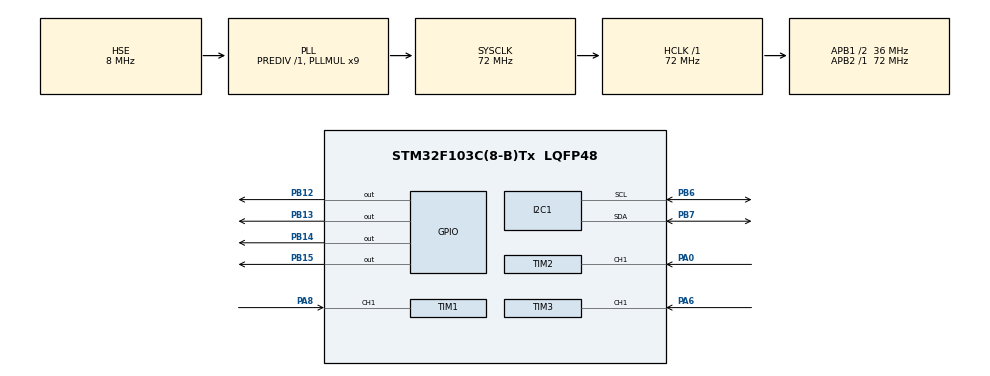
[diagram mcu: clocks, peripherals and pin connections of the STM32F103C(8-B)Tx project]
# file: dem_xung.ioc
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Mcu.Family=STM32F1
Mcu.Name=STM32F103C(8-B)Tx
Mcu.Package=LQFP48
NVIC.PriorityGroup=NVIC_PRIORITYGROUP_4
NVIC.TIM1_BRK_IRQn=true\:0\:0\:false\:false\:true\:true\:true\:true
NVIC.TIM1_CC_IRQn=true\:0\:0\:false\:false\:true\:true\:true\:true
NVIC.TIM1_TRG_COM_IRQn=true\:0\:0\:false\:false\:true\:true\:true\:true
NVIC.TIM1_UP_IRQn=true\:0\:0\:false\:false\:true\:true\:true\:true
NVIC.TIM2_IRQn=true\:0\:0\:false\:false\:true\:true\:true\:true
NVIC.TIM3_IRQn=true\:0\:0\:false\:false\:true\:true\:true\:true
PA0-WKUP.Signal=S_TIM2_CH1_ETR
PA13.Mode=Serial_Wire
PA13.Signal=SYS_JTMS-SWDIO
PA14.Mode=Serial_Wire
PA14.Signal=SYS_JTCK-SWCLK
PA6.Signal=S_TIM3_CH1
PA8.Signal=S_TIM1_CH1
PB12.Signal=GPIO_Output
PB13.Signal=GPIO_Output
PB14.Signal=GPIO_Output
PB15.Signal=GPIO_Output
PB6.Mode=I2C
PB6.Signal=I2C1_SCL
PB7.Mode=I2C
PB7.Signal=I2C1_SDA
PD0-OSC_IN.Mode=HSE-External-Oscillator
PD0-OSC_IN.Signal=RCC_OSC_IN
PD1-OSC_OUT.Mode=HSE-External-Oscillator
PD1-OSC_OUT.Signal=RCC_OSC_OUT
ProjectManager.HeapSize=0x200
ProjectManager.StackSize=0x400
ProjectManager.TargetToolchain=MDK-ARM V5.32
RCC.AHBFreq_Value=72000000
RCC.APB1CLKDivider=RCC_HCLK_DIV2
RCC.APB1Freq_Value=36000000
RCC.APB1TimFreq_Value=72000000
RCC.APB2Freq_Value=72000000
RCC.APB2TimFreq_Value=72000000
RCC.HCLKFreq_Value=72000000
RCC.PLLMUL=RCC_PLL_MUL9
RCC.PLLSourceVirtual=RCC_PLLSOURCE_HSE
RCC.SYSCLKFreq_VALUE=72000000
RCC.SYSCLKSource=RCC_SYSCLKSOURCE_PLLCLK
RCC.USBFreq_Value=72000000
SH.S_TIM1_CH1.0=TIM1_CH1,TriggerSource_TI1FP1
SH.S_TIM2_CH1_ETR.0=TIM2_CH1,TriggerSource_TI1FP1
SH.S_TIM3_CH1.0=TIM3_CH1,TriggerSource_TI1FP1
TIM1.Slave_TriggerFilter=15
TIM2.Slave_TriggerFilter=15
TIM3.Slave_TriggerFilter=15
VP_TIM1_VS_ControllerModeClock.Mode=Clock Mode
VP_TIM2_VS_ControllerModeClock.Mode=Clock Mode
VP_TIM3_VS_ControllerModeClock.Mode=Clock Mode
board=custom

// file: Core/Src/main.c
/* USER CODE BEGIN Header */
/**
  ******************************************************************************
  * @file           : main.c
  * @brief          : Main program body
  ******************************************************************************
  * @attention
  *
  * Copyright (c) 2022 STMicroelectronics.
  * All rights reserved.
  *
  * This software is licensed under terms that can be found in the LICENSE file
  * in the root directory of this software component.
  * If no LICENSE file comes with this software, it is provided AS-IS.
  *
  ******************************************************************************
  */
/* USER CODE END Header */
#include "main.h"

/* USER CODE BEGIN Includes */
#include "i2c-lcd.h"
/* USER CODE END Includes */

 I2C_HandleTypeDef hi2c1;

TIM_HandleTypeDef htim1;
TIM_HandleTypeDef htim2;
TIM_HandleTypeDef htim3;

void SystemClock_Config(void);
static void MX_GPIO_Init(void);
static void MX_I2C1_Init(void);
static void MX_TIM1_Init(void);
static void MX_TIM2_Init(void);
static void MX_TIM3_Init(void);

/* USER CODE BEGIN 0 */
uint16_t dem0, dem1, dem2, dem3;

/* USER CODE END 0 */

int main(void)
{

  /* MCU Configuration--------------------------------------------------------*/

  /* Reset of all peripherals, Initializes the Flash interface and the Systick. */
  HAL_Init();

  /* USER CODE BEGIN Init */
	HAL_TIM_Base_Start_IT(&htim1);
	HAL_TIM_Base_Start_IT(&htim2);
	HAL_TIM_Base_Start_IT(&htim3);
	lcd_init();
	lcd_clear();
  /* USER CODE END Init */

  /* Configure the system clock */
  SystemClock_Config();

  /* Initialize all configured peripherals */
  MX_GPIO_Init();
  MX_I2C1_Init();
  MX_TIM1_Init();
  MX_TIM2_Init();
  MX_TIM3_Init();

  /* Infinite loop */
  while (1)
  {

    /* USER CODE BEGIN 3 */
		dem0 = htim1.Instance->CNT;
		dem1 = htim2.Instance->CNT;
		dem2 = htim3.Instance->CNT;

		lcd_put_cur(0, 0);
		lcd_send_string("DEM0: ");
		lcd_send_data((dem0/10000) + 48);
		lcd_send_data((dem0/1000)%10 + 48);
		lcd_send_data((dem0/100)%10 + 48);
		lcd_send_data((dem0/10)%10 + 48);
		lcd_send_data((dem0%1000) + 48);
		lcd_send_cmd(0x80|0x40);
		lcd_send_string("DEM1: ");
		lcd_send_data((dem1/10000) + 48);
		lcd_send_data((dem1/1000)%10 + 48);
		lcd_send_data((dem1/100)%10 + 48);
		lcd_send_data((dem1/10)%10 + 48);
		lcd_send_data((dem1%1000) + 48);
		lcd_send_cmd(0x80|0x10);
		lcd_send_string("DEM2: ");
		lcd_send_data((dem2/10000) + 48);
		lcd_send_data((dem2/1000)%10 + 48);
		lcd_send_data((dem2/100)%10 + 48);
		lcd_send_data((dem2/10)%10 + 48);
		lcd_send_data((dem2%1000) + 48);

		HAL_GPIO_WritePin(GPIOB, GPIO_PIN_12, 1);
		HAL_Delay(1000);
		HAL_GPIO_WritePin(GPIOB, GPIO_PIN_12, 0);
		HAL_Delay(1000);
  }
  /* USER CODE END 3 */
}

	void HAL_TIM_PeriodElapsedCallback(TIM_HandleTypeDef *htim)
  {
		if(htim->Instance==htim1.Instance)
		{

		}

		if(htim->Instance==htim2.Instance)
		{

		}

		if(htim->Instance==htim3.Instance)
		{

		}
  }

void SystemClock_Config(void)
{
  RCC_OscInitTypeDef RCC_OscInitStruct = {0};
  RCC_ClkInitTypeDef RCC_ClkInitStruct = {0};

  /** Initializes the RCC Oscillators according to the specified parameters
  * in the RCC_OscInitTypeDef structure.
  */
  RCC_OscInitStruct.OscillatorType = RCC_OSCILLATORTYPE_HSE;
  RCC_OscInitStruct.HSEState = RCC_HSE_ON;
  RCC_OscInitStruct.HSEPredivValue = RCC_HSE_PREDIV_DIV1;
  RCC_OscInitStruct.HSIState = RCC_HSI_ON;
  RCC_OscInitStruct.PLL.PLLState = RCC_PLL_ON;
  RCC_OscInitStruct.PLL.PLLSource = RCC_PLLSOURCE_HSE;
  RCC_OscInitStruct.PLL.PLLMUL = RCC_PLL_MUL9;
  if (HAL_RCC_OscConfig(&RCC_OscInitStruct) != HAL_OK)
  {
    Error_Handler();
  }

  /** Initializes the CPU, AHB and APB buses clocks
  */
  RCC_ClkInitStruct.ClockType = RCC_CLOCKTYPE_HCLK|RCC_CLOCKTYPE_SYSCLK
                              |RCC_CLOCKTYPE_PCLK1|RCC_CLOCKTYPE_PCLK2;
  RCC_ClkInitStruct.SYSCLKSource = RCC_SYSCLKSOURCE_PLLCLK;
  RCC_ClkInitStruct.AHBCLKDivider = RCC_SYSCLK_DIV1;
  RCC_ClkInitStruct.APB1CLKDivider = RCC_HCLK_DIV2;
  RCC_ClkInitStruct.APB2CLKDivider = RCC_HCLK_DIV1;

  if (HAL_RCC_ClockConfig(&RCC_ClkInitStruct, FLASH_LATENCY_2) != HAL_OK)
  {
    Error_Handler();
  }
}

static void MX_I2C1_Init(void)
{

  hi2c1.Instance = I2C1;
  hi2c1.Init.ClockSpeed = 100000;
  hi2c1.Init.DutyCycle = I2C_DUTYCYCLE_2;
  hi2c1.Init.OwnAddress1 = 0;
  hi2c1.Init.AddressingMode = I2C_ADDRESSINGMODE_7BIT;
  hi2c1.Init.DualAddressMode = I2C_DUALADDRESS_DISABLE;
  hi2c1.Init.OwnAddress2 = 0;
  hi2c1.Init.GeneralCallMode = I2C_GENERALCALL_DISABLE;
  hi2c1.Init.NoStretchMode = I2C_NOSTRETCH_DISABLE;
  if (HAL_I2C_Init(&hi2c1) != HAL_OK)
  {
    Error_Handler();
  }

}

static void MX_TIM1_Init(void)
{

  TIM_SlaveConfigTypeDef sSlaveConfig = {0};
  TIM_MasterConfigTypeDef sMasterConfig = {0};

  htim1.Instance = TIM1;
  htim1.Init.Prescaler = 0;
  htim1.Init.CounterMode = TIM_COUNTERMODE_UP;
  htim1.Init.Period = 65535;
  htim1.Init.ClockDivision = TIM_CLOCKDIVISION_DIV1;
  htim1.Init.RepetitionCounter = 0;
  htim1.Init.AutoReloadPreload = TIM_AUTORELOAD_PRELOAD_DISABLE;
  if (HAL_TIM_Base_Init(&htim1) != HAL_OK)
  {
    Error_Handler();
  }
  sSlaveConfig.SlaveMode = TIM_SLAVEMODE_EXTERNAL1;
  sSlaveConfig.InputTrigger = TIM_TS_TI1FP1;
  sSlaveConfig.TriggerPolarity = TIM_TRIGGERPOLARITY_RISING;
  sSlaveConfig.TriggerFilter = 15;
  if (HAL_TIM_SlaveConfigSynchro(&htim1, &sSlaveConfig) != HAL_OK)
  {
    Error_Handler();
  }
  sMasterConfig.MasterOutputTrigger = TIM_TRGO_RESET;
  sMasterConfig.MasterSlaveMode = TIM_MASTERSLAVEMODE_DISABLE;
  if (HAL_TIMEx_MasterConfigSynchronization(&htim1, &sMasterConfig) != HAL_OK)
  {
    Error_Handler();
  }

}

static void MX_TIM2_Init(void)
{

  TIM_SlaveConfigTypeDef sSlaveConfig = {0};
  TIM_MasterConfigTypeDef sMasterConfig = {0};

  htim2.Instance = TIM2;
  htim2.Init.Prescaler = 0;
  htim2.Init.CounterMode = TIM_COUNTERMODE_UP;
  htim2.Init.Period = 65535;
  htim2.Init.ClockDivision = TIM_CLOCKDIVISION_DIV1;
  htim2.Init.AutoReloadPreload = TIM_AUTORELOAD_PRELOAD_DISABLE;
  if (HAL_TIM_Base_Init(&htim2) != HAL_OK)
  {
    Error_Handler();
  }
  sSlaveConfig.SlaveMode = TIM_SLAVEMODE_EXTERNAL1;
  sSlaveConfig.InputTrigger = TIM_TS_TI1FP1;
  sSlaveConfig.TriggerPolarity = TIM_TRIGGERPOLARITY_RISING;
  sSlaveConfig.TriggerFilter = 15;
  if (HAL_TIM_SlaveConfigSynchro(&htim2, &sSlaveConfig) != HAL_OK)
  {
    Error_Handler();
  }
  sMasterConfig.MasterOutputTrigger = TIM_TRGO_RESET;
  sMasterConfig.MasterSlaveMode = TIM_MASTERSLAVEMODE_DISABLE;
  if (HAL_TIMEx_MasterConfigSynchronization(&htim2, &sMasterConfig) != HAL_OK)
  {
    Error_Handler();
  }

}

static void MX_TIM3_Init(void)
{

  TIM_SlaveConfigTypeDef sSlaveConfig = {0};
  TIM_MasterConfigTypeDef sMasterConfig = {0};

  htim3.Instance = TIM3;
  htim3.Init.Prescaler = 0;
  htim3.Init.CounterMode = TIM_COUNTERMODE_UP;
  htim3.Init.Period = 65535;
  htim3.Init.ClockDivision = TIM_CLOCKDIVISION_DIV1;
  htim3.Init.AutoReloadPreload = TIM_AUTORELOAD_PRELOAD_DISABLE;
  if (HAL_TIM_Base_Init(&htim3) != HAL_OK)
  {
    Error_Handler();
  }
  sSlaveConfig.SlaveMode = TIM_SLAVEMODE_EXTERNAL1;
  sSlaveConfig.InputTrigger = TIM_TS_TI1FP1;
  sSlaveConfig.TriggerPolarity = TIM_TRIGGERPOLARITY_RISING;
  sSlaveConfig.TriggerFilter = 15;
  if (HAL_TIM_SlaveConfigSynchro(&htim3, &sSlaveConfig) != HAL_OK)
  {
    Error_Handler();
  }
  sMasterConfig.MasterOutputTrigger = TIM_TRGO_RESET;
  sMasterConfig.MasterSlaveMode = TIM_MASTERSLAVEMODE_DISABLE;
  if (HAL_TIMEx_MasterConfigSynchronization(&htim3, &sMasterConfig) != HAL_OK)
  {
    Error_Handler();
  }

}

static void MX_GPIO_Init(void)
{
  GPIO_InitTypeDef GPIO_InitStruct = {0};

  /* GPIO Ports Clock Enable */
  __HAL_RCC_GPIOD_CLK_ENABLE();
  __HAL_RCC_GPIOA_CLK_ENABLE();
  __HAL_RCC_GPIOB_CLK_ENABLE();

  /*Configure GPIO pin Output Level */
  HAL_GPIO_WritePin(GPIOB, GPIO_PIN_12|GPIO_PIN_13|GPIO_PIN_14|GPIO_PIN_15, GPIO_PIN_RESET);

  /*Configure GPIO pins : PB12 PB13 PB14 PB15 */
  GPIO_InitStruct.Pin = GPIO_PIN_12|GPIO_PIN_13|GPIO_PIN_14|GPIO_PIN_15;
  GPIO_InitStruct.Mode = GPIO_MODE_OUTPUT_PP;
  GPIO_InitStruct.Pull = GPIO_NOPULL;
  GPIO_InitStruct.Speed = GPIO_SPEED_FREQ_LOW;
  HAL_GPIO_Init(GPIOB, &GPIO_InitStruct);

}

void Error_Handler(void)
{
  __disable_irq();
  while (1)
  {
  }
}
